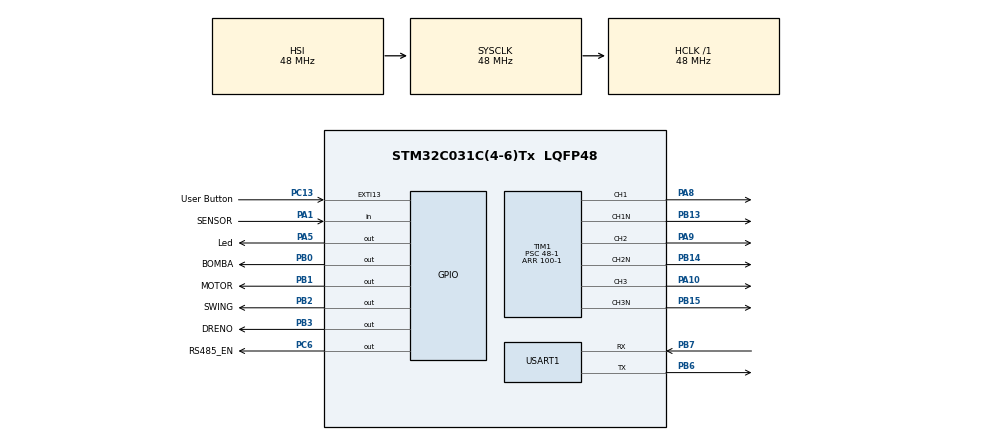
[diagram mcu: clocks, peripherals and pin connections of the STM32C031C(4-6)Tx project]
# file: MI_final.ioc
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Dma.Request0=USART1_RX
Dma.USART1_RX.0.Direction=DMA_PERIPH_TO_MEMORY
Dma.USART1_RX.0.EventEnable=DISABLE
Dma.USART1_RX.0.Instance=DMA1_Channel1
Dma.USART1_RX.0.MemDataAlignment=DMA_MDATAALIGN_BYTE
Dma.USART1_RX.0.MemInc=DMA_MINC_ENABLE
Dma.USART1_RX.0.Mode=DMA_NORMAL
Dma.USART1_RX.0.PeriphDataAlignment=DMA_PDATAALIGN_BYTE
Dma.USART1_RX.0.PeriphInc=DMA_PINC_DISABLE
Dma.USART1_RX.0.Polarity=HAL_DMAMUX_REQ_GEN_RISING
Dma.USART1_RX.0.Priority=DMA_PRIORITY_LOW
Dma.USART1_RX.0.RequestNumber=1
Dma.USART1_RX.0.SignalID=NONE
Dma.USART1_RX.0.SyncEnable=DISABLE
Dma.USART1_RX.0.SyncPolarity=HAL_DMAMUX_SYNC_NO_EVENT
Dma.USART1_RX.0.SyncRequestNumber=1
Dma.USART1_RX.0.SyncSignalID=NONE
Mcu.Family=STM32C0
Mcu.Name=STM32C031C(4-6)Tx
Mcu.Package=LQFP48
NVIC.DMA1_Channel1_IRQn=true\:0\:0\:false\:false\:true\:false\:true\:true
NVIC.EXTI4_15_IRQn=true\:0\:0\:false\:false\:true\:true\:true\:true
NVIC.TIM14_IRQn=true\:0\:0\:false\:false\:true\:true\:true\:true
NVIC.TIM3_IRQn=true\:0\:0\:false\:false\:true\:true\:true\:true
NVIC.USART1_IRQn=true\:0\:0\:false\:false\:true\:true\:true\:true
PA1.GPIO_Label=SENSOR
PA1.GPIO_PuPd=GPIO_PULLDOWN
PA1.Signal=GPIO_Input
PA10.Signal=S_TIM1_CH3
PA13.GPIO_Label=DEBUG_SWDIO
PA13.Signal=DEBUG_SWDIO
PA14-BOOT0.GPIO_Label=DEBUG_SWCLK
PA14-BOOT0.Signal=DEBUG_SWCLK
PA2.GPIO_Label=VCP_USART2_TX
PA2.Signal=USART2_TX
PA3.GPIO_Label=VCP_USART2_RX
PA3.Signal=USART2_RX
PA5.GPIO_Label=Led
PA5.GPIO_Speed=GPIO_SPEED_FREQ_VERY_HIGH
PA5.PinState=GPIO_PIN_SET
PA5.Signal=GPIO_Output
PA8.Signal=S_TIM1_CH1
PA9.Signal=S_TIM1_CH2
PB0.GPIO_Label=BOMBA
PB0.GPIO_PuPd=GPIO_PULLDOWN
PB0.Signal=GPIO_Output
PB1.GPIO_Label=MOTOR
PB1.GPIO_PuPd=GPIO_PULLDOWN
PB1.Signal=GPIO_Output
PB13.Mode=PWM Generation1 CH1 CH1N
PB13.Signal=TIM1_CH1N
PB14.Mode=PWM Generation2 CH2 CH2N
PB14.Signal=TIM1_CH2N
PB15.Mode=PWM Generation3 CH3 CH3N
PB15.Signal=TIM1_CH3N
PB2.GPIO_Label=SWING
PB2.GPIO_PuPd=GPIO_PULLDOWN
PB2.Signal=GPIO_Output
PB3.GPIO_Label=DRENO
PB3.GPIO_PuPd=GPIO_PULLDOWN
PB3.Signal=GPIO_Output
PB6.Mode=Asynchronous
PB6.Signal=USART1_TX
PB7.Mode=Asynchronous
PB7.Signal=USART1_RX
PC13.GPIO_Label=User Button
PC13.Signal=GPXTI13
PC14-OSCX_IN\ (PC14).GPIO_Label=RCC_OSCX_IN
PC14-OSCX_IN\ (PC14).Mode=LSE-External-Oscillator
PC14-OSCX_IN\ (PC14).Signal=RCC_OSCX_IN
PC15-OSCX_OUT\ (PC15).GPIO_Label=RCC_OSCX_OUT
PC15-OSCX_OUT\ (PC15).Mode=LSE-External-Oscillator
PC15-OSCX_OUT\ (PC15).Signal=RCC_OSCX_OUT
PC6.GPIO_Label=RS485_EN
PC6.Signal=GPIO_Output
PF0-OSC_IN\ (PF0).GPIO_Label=RCC_OSC_IN
PF0-OSC_IN\ (PF0).Mode=HSE-External-Oscillator
PF0-OSC_IN\ (PF0).Signal=RCC_OSC_IN
PF1-OSC_OUT\ (PF1).GPIO_Label=RCC_OSC_OUT
PF1-OSC_OUT\ (PF1).Mode=HSE-External-Oscillator
PF1-OSC_OUT\ (PF1).Signal=RCC_OSC_OUT
ProjectManager.HeapSize=0x200
ProjectManager.StackSize=0x400
ProjectManager.TargetToolchain=STM32CubeIDE
RCC.ADCFreq_Value=48000000
RCC.AHBFreq_Value=48000000
RCC.CortexFreq_Value=48000000
RCC.EXTERNAL_CLOCK_VALUE=12288000
RCC.HCLKFreq_Value=48000000
RCC.HSE_VALUE=48000000
RCC.HSISYSCLKDivider=RCC_HSI_DIV1
RCC.HSI_VALUE=48000000
RCC.SYSCLKFreq_VALUE=48000000
SH.S_TIM1_CH1.0=TIM1_CH1,PWM Generation1 CH1 CH1N
SH.S_TIM1_CH2.0=TIM1_CH2,PWM Generation2 CH2 CH2N
SH.S_TIM1_CH3.0=TIM1_CH3,PWM Generation3 CH3 CH3N
TIM1.AutoReloadPreload=TIM_AUTORELOAD_PRELOAD_ENABLE
TIM1.Channel-PWM\ Generation1\ CH1\ CH1N=TIM_CHANNEL_1
TIM1.Channel-PWM\ Generation2\ CH2\ CH2N=TIM_CHANNEL_2
TIM1.Channel-PWM\ Generation3\ CH3\ CH3N=TIM_CHANNEL_3
TIM1.DeadTime=96
TIM1.Period=100-1
TIM1.Prescaler=48-1
TIM1.Pulse-PWM\ Generation1\ CH1\ CH1N=50
TIM1.Pulse-PWM\ Generation2\ CH2\ CH2N=50
TIM1.Pulse-PWM\ Generation3\ CH3\ CH3N=50
TIM14.Period=1000-1
TIM14.Prescaler=48000-1
TIM3.Period=100-1
TIM3.Prescaler=48-1
USART1.Parity=PARITY_EVEN
USART1.VirtualMode-Asynchronous=VM_ASYNC
USART1.WordLength=WORDLENGTH_9B
VP_TIM14_VS_ClockSourceINT.Mode=Enable_Timer
VP_TIM3_VS_ClockSourceINT.Mode=Internal
board=NUCLEO-C031C6

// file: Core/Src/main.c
/* USER CODE BEGIN Header */
/**
  ******************************************************************************
  * @file           : main.c
  * @brief          : Módulo Inversor (MI) unificado
  *
  * Integra:
  * - Comunicação RS485 com a IHM (ESP32)
  * - Controle do motor / SPWM
  * - Periféricos (bomba, swing, dreno e sensor)
  *
  * Observações importantes:
  * - Este arquivo foi montado para substituir os três códigos separados do MI
  *   dentro do projeto STM32CubeMX/CubeIDE já existente.
  * - Mantém compatibilidade com a IHM unificada v2:
  *      payload[0] = botões pulsados
  *      payload[1..2] = frequência alvo em centésimos de Hz
  *      payload[3] = direção nominal (0=FWD, 1=REV)
  *      payload[4] = flags auxiliares
  *      payload[5] = estado do dreno
  *      payload[6] = P90 (reservado)
  *      payload[7] = P91 (reservado)
  *      payload[8] = E08 ativo na IHM
  ******************************************************************************
  */
/* USER CODE END Header */
#include "main.h"
#include <string.h>
#include <stdint.h>
#include <stdbool.h>
#include "mi_rs485_dma_shared.h"

/* USER CODE BEGIN PTD */
typedef struct {
    uint8_t addr, type, seq, len;
    uint8_t payload[128];
} frame_t;

typedef enum {
    PS_WAIT_SOF = 0,
    PS_HDR_ADDR,
    PS_HDR_TYPE,
    PS_HDR_SEQ,
    PS_HDR_LEN,
    PS_PAYLOAD,
    PS_CRC_L,
    PS_CRC_H
} parse_state_t;

typedef struct {
    parse_state_t st;
    bool esc_next;
    uint8_t addr, type, seq, len;
    uint8_t payload[128];
    uint8_t pay_i, crc_l, crc_h;
} frame_parser_t;

typedef struct {
    uint16_t p10_acel;
    uint16_t p11_desacel;
    uint16_t p20_freq_min;
    uint16_t p21_freq_max;
    uint16_t p35_torque;
    uint16_t p42_igbt_khz;
    uint16_t p43_i_motor;
    uint16_t p45_v_min;
    uint8_t  p44_autoreset;
    uint8_t  p85_sensor_mode;
} mi_settings_t;

typedef struct {
    uint8_t  buttons;
    uint16_t target_freq_centi_hz;
    uint8_t  direction;
    uint8_t  aux_flags;
    uint8_t  dreno_status;
    uint8_t  p90;
    uint8_t  p91;
    uint8_t  e08_active;
} mi_commands_t;

typedef struct {
    uint16_t current_freq_centi_hz;
    uint16_t motor_current_ma;
    uint16_t bus_voltage_vdc;
    uint16_t out_voltage_vrms;
    uint8_t  temp_igbt_c;
} mi_telemetry_t;

typedef struct {
    float    saved_freq_hz;
    uint8_t  saved_P10;
    uint8_t  saved_P11;
    uint8_t  saved_P20;
    uint8_t  saved_P21;
    uint8_t  saved_P35;
    uint8_t  saved_P42;
    uint8_t  saved_P12;
    uint8_t  saved_locked;
    uint32_t padding;
} SystemParams;

typedef enum {
    DRENO_IDLE = 0,
    DRENO_AGUARDANDO_LED = 1,
    DRENO_EM_CURSO = 2
} dreno_state_t;
/* USER CODE END PTD */

/* USER CODE BEGIN PD */
#define SOF                      0x7E
#define ESC                      0x7D
#define ESC_XOR                  0x20

#define ADDR_STM32               0x01
#define ADDR_MASTER              0xF0

#define TYPE_READ_STATUS         0x04
#define TYPE_WRITE_PARAM         0x05
#define TYPE_ACK_MI              0x06
#define TYPE_ACK                 0x80

#define MAX_PAYLOAD              128
#define RX_DMA_BUF_SZ            256
#define COMMS_TIMEOUT_MS         2000U

#define MI_STATUS_WATER_SHORTAGE (1u << 0)

#define BTN_BIT_START            (1u << 0)
#define BTN_BIT_STOP             (1u << 1)
#define BTN_BIT_UP               (1u << 2)
#define BTN_BIT_DOWN             (1u << 3)

#define AUX_BIT_BOMBA            (1u << 0)
#define AUX_BIT_SWING            (1u << 1)
#define AUX_BIT_EXAUSTAO         (1u << 2)
#define AUX_BIT_DRENO            (1u << 3)
#define AUX_BIT_SYSTEM_ON        (1u << 4)

#ifndef FLASH_USER_ADDR
#define FLASH_USER_ADDR          0x08007FF0U
#endif
/* USER CODE END PD */

/* USER CODE BEGIN PM */
#define CLAMP_F(v, lo, hi) (((v) < (lo)) ? (lo) : (((v) > (hi)) ? (hi) : (v)))
/* USER CODE END PM */

TIM_HandleTypeDef htim1;
TIM_HandleTypeDef htim3;
TIM_HandleTypeDef htim14;

UART_HandleTypeDef huart1;
DMA_HandleTypeDef hdma_usart1_rx;

/* USER CODE BEGIN PV */
static frame_parser_t g_parser;
static mi_settings_t  g_settings = {0};
static mi_commands_t  g_cmd      = {0};
static mi_telemetry_t g_tel      = {0};

static uint32_t last_packet_tick = 0;
static bool hardware_comms_ok = false;
static bool handshake_done = false;

/* Compartilhados com stm32c0xx_it.c para o tratamento RX DMA + IDLE */
uint8_t rx_dma_buf[2][RX_DMA_BUF_SZ];
volatile uint16_t rx_ready_len = 0;
volatile uint8_t  rx_ready_idx = 0;
volatile bool     rx_dma_ready = false;
volatile uint8_t  rx_active_idx = 0;

volatile uint32_t dbg_main_rx_count = 0;
volatile uint32_t dbg_parser_ok_count = 0;
volatile uint32_t dbg_type_write_param_count = 0;
volatile uint32_t dbg_crc_fail_count = 0;
volatile uint16_t dbg_last_n = 0;
volatile uint16_t dbg_last_crc_calc = 0;
volatile uint16_t dbg_last_crc_recv = 0;

/* ===== Motor / parâmetros ===== */
volatile uint8_t  P00 = 0;
volatile uint8_t  P01 = 0;
volatile uint32_t P10 = 15;
volatile uint32_t P11 = 5;
volatile uint8_t  P12 = 1;
volatile uint8_t  P20 = 1;
volatile uint8_t  P21 = 90;
volatile uint8_t  P35 = 0;
volatile uint8_t  P42 = 10;
volatile uint8_t  P43 = 5;
volatile uint8_t  P44 = 0;
volatile uint16_t P45 = 180;
volatile bool params_locked = false;

volatile bool  cmd_ligar_motor = false;
volatile float cmd_frequencia_alvo = 0.0f;
volatile float f_atual = 0.0f;
volatile uint32_t debug_isr_cnt = 0;

static uint32_t backup_P10 = 15;
static uint32_t backup_P11 = 5;
static uint8_t  backup_P12 = 1;
static uint8_t  backup_P20 = 1;
static uint8_t  backup_P21 = 90;
static uint8_t  backup_P35 = 0;
static uint8_t  backup_P42 = 10;

static uint8_t  P20_run = 1;
static uint8_t  P21_run = 90;
static uint32_t P10_run = 15;
static uint32_t P11_run = 5;
static bool     last_motor_state = false;
static uint8_t  last_P42 = 0;

volatile float ramp_inc_up = 0.0f;
volatile float ramp_inc_down = 0.0f;
volatile float inv_fs_2pi = 0.0f;
volatile uint32_t current_arr = 99;
volatile float amp_max_atual = 50.0f;
volatile float freq_ISR = 10000.0f;

static float theta_u = 0.0f;
static float theta_v = 2.094395f;
static float theta_w = 4.188790f;
static const float TWO_PI = 6.283185307f;

/* ===== Periféricos ===== */
volatile uint32_t P30 = 0;
volatile uint32_t P31 = 1;
volatile uint8_t  P32 = 60;
volatile uint8_t  P33 = 0;
volatile uint8_t  P51 = 0;
volatile uint8_t  P80 = 1;
volatile uint8_t  P81 = 1;
volatile uint8_t  P82 = 1;
volatile uint32_t P83 = 1;
volatile uint32_t P84 = 1;
volatile uint8_t  P85 = 1;
volatile uint8_t  P86 = 1;

static bool remote_system_on = false;
static bool remote_start_latched = false;
static bool remote_bomba_cmd = false;
static bool remote_swing_cmd = false;
static bool remote_exaustao_cmd = false;
static dreno_state_t remote_dreno_status = DRENO_IDLE;
static bool motor_reverse = false;

static uint32_t sensor_delay_counter = 0;
static uint32_t tsensor = 5;
static uint8_t  sensor_estavel = 0;
static uint8_t  sensor_ultimo_raw = 0;
static bool     motor_desligado = true;

static GPIO_PinState ligar_bomba = GPIO_PIN_SET;
static GPIO_PinState desligar_bomba = GPIO_PIN_RESET;
static GPIO_PinState ligar_swing = GPIO_PIN_SET;
static GPIO_PinState desligar_swing = GPIO_PIN_RESET;
static GPIO_PinState ligar_dreno = GPIO_PIN_SET;
static GPIO_PinState desligar_dreno = GPIO_PIN_RESET;
static GPIO_PinState ligar_motor_pin = GPIO_PIN_SET;
static GPIO_PinState desligar_motor_pin = GPIO_PIN_RESET;

/* ===== Telemetria simulada / base ===== */
volatile uint16_t sim_v_out = 220;
volatile uint16_t sim_v_bus = 311;
volatile uint16_t sim_i_out = 520;
volatile uint8_t  sim_temp  = 32;
/* USER CODE END PV */

void SystemClock_Config(void);
static void MX_GPIO_Init(void);
static void MX_DMA_Init(void);
static void MX_USART1_UART_Init(void);
static void MX_TIM1_Init(void);
static void MX_TIM3_Init(void);
static void MX_TIM14_Init(void);
/* USER CODE BEGIN PFP */
static inline float fast_sin_approx(float x) {
    while (x >= TWO_PI) x -= TWO_PI;
    while (x < 0.0f) x += TWO_PI;

    float sign = 1.0f;
    if (x > 3.1415926535f) {
        x -= 3.1415926535f;
        sign = -1.0f;
    }

    if (x > 1.5707963268f) {
        x = 3.1415926535f - x;
    }

    float y = (1.27323954f * x) - (0.405284735f * x * x);
    return sign * y;
}

static uint16_t crc16_ibm(const uint8_t *data, uint16_t len);
static void parser_reset(frame_parser_t *p);
static bool parser_feed(frame_parser_t *p, uint8_t byte, frame_t *out_frame);
static void rs485_send_reply(uint8_t type, uint8_t seq, const uint8_t *payload, uint8_t len);
static void process_frame(const frame_t *fr);
static void comm_apply_received_command(void);
static void comm_safe_stop(void);
static void telemetry_update(void);
static uint8_t telemetry_status_flags(void);
static void atualiza_P42(void);
static void load_flash_data(void);
static void write_flash_data(void);
static void calcula_rampa(void);
static void spwm(void);
static void motor_init_runtime(void);
static void motor_task_runtime(void);
static void peripherals_set_modes(void);
static uint8_t sensor_read(void);
static void peripherals_tick_1s(void);
static void peripherals_apply_remote(void);
static void set_output_pin(GPIO_TypeDef *port, uint16_t pin, GPIO_PinState state);
/* USER CODE END PFP */

/* USER CODE BEGIN 0 */
static uint16_t crc16_ibm(const uint8_t *data, uint16_t len) {
    uint16_t crc = 0xFFFF;
    for (uint16_t i = 0; i < len; i++) {
        crc ^= data[i];
        for (int b = 0; b < 8; b++) {
            crc = (crc & 1u) ? (uint16_t)((crc >> 1) ^ 0xA001u) : (uint16_t)(crc >> 1);
        }
    }
    return crc;
}

static void parser_reset(frame_parser_t *p) {
    p->st = PS_WAIT_SOF;
    p->esc_next = false;
    p->pay_i = 0;
}

static bool parser_feed(frame_parser_t *p, uint8_t byte, frame_t *out_frame) {
    if (byte == SOF) {
        parser_reset(p);
        p->st = PS_HDR_ADDR;
        return false;
    }
    if (p->st == PS_WAIT_SOF) return false;

    if (p->esc_next) {
        byte ^= ESC_XOR;
        p->esc_next = false;
    } else if (byte == ESC) {
        p->esc_next = true;
        return false;
    }

    switch (p->st) {
        case PS_HDR_ADDR: p->addr = byte; p->st = PS_HDR_TYPE; break;
        case PS_HDR_TYPE: p->type = byte; p->st = PS_HDR_SEQ; break;
        case PS_HDR_SEQ:  p->seq  = byte; p->st = PS_HDR_LEN; break;
        case PS_HDR_LEN:
            p->len = byte;
            if (p->len > MAX_PAYLOAD) {
                parser_reset(p);
                return false;
            }
            p->st = (p->len == 0u) ? PS_CRC_L : PS_PAYLOAD;
            break;
        case PS_PAYLOAD:
            p->payload[p->pay_i++] = byte;
            if (p->pay_i >= p->len) p->st = PS_CRC_L;
            break;
        case PS_CRC_L:
            p->crc_l = byte;
            p->st = PS_CRC_H;
            break;
        case PS_CRC_H: {
            p->crc_h = byte;
            uint8_t tmp[4 + MAX_PAYLOAD];
            tmp[0] = p->addr;
            tmp[1] = p->type;
            tmp[2] = p->seq;
            tmp[3] = p->len;
            if (p->len) memcpy(&tmp[4], p->payload, p->len);
            uint16_t calc = crc16_ibm(tmp, (uint16_t)(4 + p->len));
            uint16_t recv = (uint16_t)p->crc_l | ((uint16_t)p->crc_h << 8);

            dbg_last_crc_calc = calc;
            dbg_last_crc_recv = recv;

            if (calc == recv) {
                out_frame->addr = p->addr;
                out_frame->type = p->type;
                out_frame->seq = p->seq;
                out_frame->len = p->len;
                if (p->len) memcpy(out_frame->payload, p->payload, p->len);

                dbg_crc_fail_count++;

                parser_reset(p);
                return true;
            }

            dbg_crc_fail_count++;

            parser_reset(p);
        } break;
        default:
            parser_reset(p);
            break;
    }
    return false;
}

static void rs485_send_reply(uint8_t type, uint8_t seq, const uint8_t *payload, uint8_t len) {
    uint8_t raw[MAX_PAYLOAD + 10];
    uint8_t esc[(MAX_PAYLOAD + 10) * 2];
    uint16_t r_idx = 0;
    uint16_t e_idx = 0;

    raw[r_idx++] = SOF;
    raw[r_idx++] = ADDR_MASTER;
    raw[r_idx++] = type;
    raw[r_idx++] = seq;
    raw[r_idx++] = len;
    if (len && payload) {
        memcpy(&raw[r_idx], payload, len);
        r_idx += len;
    }

    uint16_t crc = crc16_ibm(&raw[1], (uint16_t)(r_idx - 1));
    raw[r_idx++] = (uint8_t)(crc & 0xFFu);
    raw[r_idx++] = (uint8_t)((crc >> 8) & 0xFFu);

    esc[e_idx++] = SOF;
    for (uint16_t i = 1; i < r_idx; i++) {
        if (raw[i] == SOF || raw[i] == ESC) {
            esc[e_idx++] = ESC;
            esc[e_idx++] = raw[i] ^ ESC_XOR;
        } else {
            esc[e_idx++] = raw[i];
        }
    }

    HAL_GPIO_WritePin(RS485_EN_GPIO_Port, RS485_EN_Pin, GPIO_PIN_SET);
    HAL_UART_Transmit(&huart1, esc, e_idx, 50);
    while (__HAL_UART_GET_FLAG(&huart1, UART_FLAG_TC) == RESET) {}
    HAL_GPIO_WritePin(RS485_EN_GPIO_Port, RS485_EN_Pin, GPIO_PIN_RESET);
}

static void set_output_pin(GPIO_TypeDef *port, uint16_t pin, GPIO_PinState state) {
    HAL_GPIO_WritePin(port, pin, state);
}

static void peripherals_set_modes(void) {
    ligar_motor_pin = GPIO_PIN_SET;
    desligar_motor_pin = GPIO_PIN_RESET;

    /* BOMBA: P82=1 -> NA, P82=2 -> NF, P82=0 -> bloqueada logicamente */
    ligar_bomba    = (P82 == 2u) ? GPIO_PIN_RESET : GPIO_PIN_SET;
    desligar_bomba = (P82 == 2u) ? GPIO_PIN_SET   : GPIO_PIN_RESET;

    /* SWING: 0=desabilitado, 1=NA, 2=NF */
    if (P81 == 0u) {
        ligar_swing    = GPIO_PIN_RESET;
        desligar_swing = GPIO_PIN_RESET;
    } else if (P81 == 2u) {
        ligar_swing    = GPIO_PIN_RESET;
        desligar_swing = GPIO_PIN_SET;
    } else {
        ligar_swing    = GPIO_PIN_SET;
        desligar_swing = GPIO_PIN_RESET;
    }

    /* P80 representa modo de dreno, não polaridade da saída. */
    ligar_dreno    = GPIO_PIN_SET;
    desligar_dreno = GPIO_PIN_RESET;
}

static uint8_t sensor_read(void) {
    if (P85 == 0u) {
        /* Sensor desabilitado: sem confirmação de água, bloqueia climatização. */
        return 0u;
    }

    GPIO_PinState raw = HAL_GPIO_ReadPin(SENSOR_GPIO_Port, SENSOR_Pin);
    if (P85 == 1u) {
        /* NA: nível alto indica água presente. */
        return (raw == GPIO_PIN_SET) ? 1u : 0u;
    }
    /* P85 == 2 -> NF: nível baixo indica água presente. */
    return (raw == GPIO_PIN_RESET) ? 1u : 0u;
}

static void peripherals_tick_1s(void) {
    uint8_t sensor_raw = sensor_read();

    if (sensor_raw != sensor_ultimo_raw) {
        sensor_ultimo_raw = sensor_raw;
        sensor_delay_counter = tsensor;
    } else {
        if (sensor_delay_counter > 0u) {
            sensor_delay_counter--;
        } else {
            sensor_estavel = sensor_raw;
        }
    }
}

static void comm_safe_stop(void) {
    remote_start_latched = false;
    cmd_ligar_motor = false;
    set_output_pin(BOMBA_GPIO_Port, BOMBA_Pin, desligar_bomba);
    set_output_pin(SWING_GPIO_Port, SWING_Pin, desligar_swing);
    set_output_pin(DRENO_GPIO_Port, DRENO_Pin, desligar_dreno);
    if (f_atual <= 0.1f) {
        set_output_pin(MOTOR_GPIO_Port, MOTOR_Pin, desligar_motor_pin);
    }
}

static void comm_apply_received_command(void) {
    uint8_t btn = g_cmd.buttons;

    if (btn & BTN_BIT_START) remote_start_latched = true;
    if (btn & BTN_BIT_STOP)  remote_start_latched = false;

    remote_system_on    = ((g_cmd.aux_flags & AUX_BIT_SYSTEM_ON) != 0u);
    remote_bomba_cmd    = ((g_cmd.aux_flags & AUX_BIT_BOMBA) != 0u);
    remote_swing_cmd    = ((g_cmd.aux_flags & AUX_BIT_SWING) != 0u);
    remote_exaustao_cmd = ((g_cmd.aux_flags & AUX_BIT_EXAUSTAO) != 0u);
    remote_dreno_status = (g_cmd.dreno_status == 0u) ? DRENO_IDLE :
                          (g_cmd.dreno_status == 1u) ? DRENO_AGUARDANDO_LED : DRENO_EM_CURSO;

    if (!remote_system_on) {
        remote_start_latched = false;
    }

    P51 = (g_cmd.direction != 0u) ? 1u : 0u;
    cmd_frequencia_alvo = ((float)g_cmd.target_freq_centi_hz) / 100.0f;
}

static void peripherals_apply_remote(void) {
    bool dreno_ativo = (remote_dreno_status != DRENO_IDLE) && (P80 != 0u);
    bool sensor_ok = (P85 != 0u) && (sensor_estavel == 1u);
    bool permite_motor = hardware_comms_ok && handshake_done && !g_cmd.e08_active && remote_system_on && remote_start_latched && !dreno_ativo;
    bool motor_ativo = permite_motor || (f_atual > 0.1f);
    bool bomba_permitida = remote_system_on && remote_bomba_cmd && !remote_exaustao_cmd && !dreno_ativo && (P82 != 0u) && sensor_ok;
    bool swing_permitido = motor_ativo && remote_swing_cmd && !remote_exaustao_cmd && !dreno_ativo && (P81 != 0u);

    if (!hardware_comms_ok || !handshake_done || g_cmd.e08_active) {
        dreno_ativo = false;
        bomba_permitida = false;
        swing_permitido = false;
        permite_motor = false;
        motor_ativo = false;
    }

    if (dreno_ativo) {
        set_output_pin(DRENO_GPIO_Port, DRENO_Pin, ligar_dreno);
        set_output_pin(BOMBA_GPIO_Port, BOMBA_Pin, desligar_bomba);
        set_output_pin(SWING_GPIO_Port, SWING_Pin, desligar_swing);
        cmd_ligar_motor = false;
    } else {
        set_output_pin(DRENO_GPIO_Port, DRENO_Pin, desligar_dreno);
        set_output_pin(BOMBA_GPIO_Port, BOMBA_Pin, bomba_permitida ? ligar_bomba : desligar_bomba);
        set_output_pin(SWING_GPIO_Port, SWING_Pin, swing_permitido ? ligar_swing : desligar_swing);
        cmd_ligar_motor = permite_motor;
    }

    motor_reverse = remote_exaustao_cmd ? !((bool)P51) : ((bool)P51);

    if (cmd_ligar_motor || f_atual > 0.1f) {
        set_output_pin(MOTOR_GPIO_Port, MOTOR_Pin, ligar_motor_pin);
        motor_desligado = false;
    } else {
        set_output_pin(MOTOR_GPIO_Port, MOTOR_Pin, desligar_motor_pin);
        motor_desligado = true;
    }
}

static void atualiza_P42(void) {
    if (P42 == 5u) current_arr = 199u;
    else if (P42 == 15u) current_arr = 66u;
    else {
        P42 = 10u;
        current_arr = 99u;
    }

    amp_max_atual = ((float)(current_arr + 1u)) / 2.0f;
    freq_ISR = 1000000.0f / ((float)(current_arr + 1u));

    __HAL_TIM_SET_AUTORELOAD(&htim1, current_arr);
    __HAL_TIM_SET_AUTORELOAD(&htim3, current_arr);
}

static void load_flash_data(void) {
    SystemParams ram_params;
    uint64_t *pFlash = (uint64_t*)FLASH_USER_ADDR;
    uint64_t dw1 = pFlash[0];
    uint64_t dw2 = pFlash[1];

    uint8_t *pDst = (uint8_t*)&ram_params;
    *(uint64_t*)(pDst) = dw1;
    *(uint64_t*)(pDst + 8) = dw2;

    if (ram_params.saved_P12 == 0xFFu) {
        return;
    }

    if (!isnan(ram_params.saved_freq_hz)) cmd_frequencia_alvo = ram_params.saved_freq_hz;
    P10 = (uint32_t)ram_params.saved_P10;
    P11 = (uint32_t)ram_params.saved_P11;
    P20 = ram_params.saved_P20;
    P21 = ram_params.saved_P21;
    P35 = ram_params.saved_P35;
    P42 = ram_params.saved_P42;
    P12 = ram_params.saved_P12;
    params_locked = (ram_params.saved_locked == 1u);
}

static void write_flash_data(void) {
    __disable_irq();
    HAL_FLASH_Unlock();

    FLASH_EraseInitTypeDef EraseInitStruct;
    uint32_t PageError = 0;
    uint32_t page_number = (FLASH_USER_ADDR - FLASH_BASE) / FLASH_PAGE_SIZE;

    EraseInitStruct.TypeErase = FLASH_TYPEERASE_PAGES;
    EraseInitStruct.Page = page_number;
    EraseInitStruct.NbPages = 1;

    if (HAL_FLASHEx_Erase(&EraseInitStruct, &PageError) == HAL_OK) {
        SystemParams data;
        data.saved_freq_hz = cmd_frequencia_alvo;
        data.saved_P10 = (uint8_t)P10;
        data.saved_P11 = (uint8_t)P11;
        data.saved_P20 = P20;
        data.saved_P21 = P21;
        data.saved_P35 = P35;
        data.saved_P42 = P42;
        data.saved_P12 = P12;
        data.saved_locked = params_locked ? 1u : 0u;
        data.padding = 0u;

        uint64_t dw1 = *(uint64_t*)((uint8_t*)&data);
        uint64_t dw2 = *(uint64_t*)((uint8_t*)&data + 8);

        (void)HAL_FLASH_Program(FLASH_TYPEPROGRAM_DOUBLEWORD, FLASH_USER_ADDR, dw1);
        (void)HAL_FLASH_Program(FLASH_TYPEPROGRAM_DOUBLEWORD, FLASH_USER_ADDR + 8u, dw2);
    }

    HAL_FLASH_Lock();
    __enable_irq();
}

static void calcula_rampa(void) {
    float t_acc = (float)P10_run;
    float t_dec = (float)P11_run;
    float f_max_ref = cmd_frequencia_alvo;

    if (t_acc < 0.1f) t_acc = 0.1f;
    if (t_dec < 0.1f) t_dec = 0.1f;

    if (last_P42 == 15u) {
        ramp_inc_up   = f_max_ref / ((t_acc * freq_ISR) / 6.7f);
        ramp_inc_down = f_max_ref / ((t_dec * freq_ISR) / 6.7f);
    } else if (last_P42 == 10u) {
        ramp_inc_up   = f_max_ref / ((t_acc * freq_ISR) / 3.9f);
        ramp_inc_down = f_max_ref / ((t_dec * freq_ISR) / 3.9f);
    } else {
        ramp_inc_up   = f_max_ref / ((t_acc * freq_ISR) / 2.2f);
        ramp_inc_down = f_max_ref / ((t_dec * freq_ISR) / 2.2f);
    }

    if (cmd_ligar_motor) {
        float diferenca = fabsf(f_atual - cmd_frequencia_alvo);
        if (diferenca < 0.1f) f_atual = cmd_frequencia_alvo;
    }

    if (!cmd_ligar_motor && f_atual > (cmd_frequencia_alvo - 0.1f)) {
        f_atual = cmd_frequencia_alvo - 0.15f;
    }
}

static void spwm(void) {
    debug_isr_cnt++;

    float alvo = 0.0f;
    float step = 0.0f;
    float amp = 0.0f;

    if (cmd_ligar_motor) {
        alvo = cmd_frequencia_alvo;
        if (alvo > (float)P21_run) alvo = (float)P21_run;
        if (alvo < (float)P20_run) alvo = (float)P20_run;

        if (f_atual < alvo) {
            step = ramp_inc_up;
            f_atual += step;
            if (f_atual > alvo) f_atual = alvo;
        } else if (f_atual > alvo) {
            step = ramp_inc_down;
            f_atual -= step;
            if (f_atual < alvo) f_atual = alvo;
        }
    } else {
        step = ramp_inc_down;
        if (f_atual > 0.0f) {
            f_atual -= step;
            if (f_atual < 0.0f) f_atual = 0.0f;
        }
    }

    P01 = (uint8_t)f_atual;

    if (!cmd_ligar_motor && f_atual <= 0.1f) {
        __HAL_TIM_SET_COMPARE(&htim1, TIM_CHANNEL_1, 0);
        __HAL_TIM_SET_COMPARE(&htim1, TIM_CHANNEL_2, 0);
        __HAL_TIM_SET_COMPARE(&htim1, TIM_CHANNEL_3, 0);
        HAL_TIM_Base_Stop_IT(&htim3);
        motor_desligado = true;
        return;
    }

    float inc = 0.0f;
    if (last_P42 == 15u) inc = f_atual * inv_fs_2pi * 6.45f;
    else if (last_P42 == 10u) inc = f_atual * inv_fs_2pi * 4.31f;
    else inc = f_atual * inv_fs_2pi * 2.16f;

    theta_u += inc;
    if (theta_u >= TWO_PI) theta_u -= TWO_PI;
    theta_v = theta_u + 2.094395f;
    if (theta_v >= TWO_PI) theta_v -= TWO_PI;
    theta_w = theta_u + 4.188790f;
    if (theta_w >= TWO_PI) theta_w -= TWO_PI;

    float prop_vf = f_atual * 0.01666f;
    if (prop_vf > 1.0f) prop_vf = 1.0f;

    if (f_atual < 20.0f) amp = amp_max_atual * (1.0f + (P35 / 10.0f));
    else amp = amp_max_atual;

    float amp_atual = prop_vf * amp;
    if (amp_atual > amp_max_atual) amp_atual = amp_max_atual;

    float offset = amp_max_atual - amp_atual;

    uint16_t p1 = (uint16_t)((amp_atual * (fast_sin_approx(theta_u) + 1.0f)) + offset);
    uint16_t p2 = (uint16_t)((amp_atual * (fast_sin_approx(theta_v) + 1.0f)) + offset);
    uint16_t p3 = (uint16_t)((amp_atual * (fast_sin_approx(theta_w) + 1.0f)) + offset);

    if (!motor_reverse) {
        __HAL_TIM_SET_COMPARE(&htim1, TIM_CHANNEL_1, p1);
        __HAL_TIM_SET_COMPARE(&htim1, TIM_CHANNEL_2, p2);
        __HAL_TIM_SET_COMPARE(&htim1, TIM_CHANNEL_3, p3);
    } else {
        __HAL_TIM_SET_COMPARE(&htim1, TIM_CHANNEL_1, p1);
        __HAL_TIM_SET_COMPARE(&htim1, TIM_CHANNEL_2, p3);
        __HAL_TIM_SET_COMPARE(&htim1, TIM_CHANNEL_3, p2);
    }
}

static void motor_init_runtime(void) {
    P10 = 15u; P11 = 5u; P12 = 1u;
    P20 = 1u;  P21 = 90u;
    P35 = 0u;  P42 = 10u;
    P43 = 5u;  P44 = 0u; P45 = 180u;
    cmd_frequencia_alvo = 5.0f;
    params_locked = false;

    load_flash_data();

    backup_P10 = P10; backup_P11 = P11; backup_P12 = P12;
    backup_P20 = P20; backup_P21 = P21;
    backup_P35 = P35; backup_P42 = P42;

    P10_run = P10;
    P11_run = P11;
    P20_run = P20;
    P21_run = P21;

    if (P42 <= 7u) P42 = 5u;
    else if (P42 <= 12u) P42 = 10u;
    else P42 = 15u;

    last_P42 = 0u;
    f_atual = 0.0f;

    peripherals_set_modes();
    sensor_ultimo_raw = sensor_read();
    sensor_estavel = sensor_ultimo_raw;
    sensor_delay_counter = 0;
    motor_task_runtime();
}

static void motor_task_runtime(void) {
    if (P00 != 0u) {
        if (P00 == 7u) {
            params_locked = !params_locked;
            write_flash_data();
        } else if (P00 == 101u) {
            P10 = 15u; P11 = 5u; P12 = 1u;
            P20 = 1u;  P21 = 90u;
            P30 = 10u; P31 = 5u; P32 = 30u; P33 = 0u;
            P35 = 0u;  P42 = 10u;
            P43 = 5u;  P44 = 0u; P45 = 180u;
            P51 = 0u;
            P80 = 0u;  P81 = 1u; P82 = 1u; P83 = 10u; P84 = 5u; P85 = 1u; P86 = 1u;
            cmd_frequencia_alvo = 5.0f;
            params_locked = false;
            backup_P10 = P10; backup_P11 = P11; backup_P12 = P12;
            backup_P20 = P20; backup_P21 = P21;
            backup_P35 = P35; backup_P42 = P42;
            peripherals_set_modes();
            sensor_ultimo_raw = sensor_read();
            sensor_estavel = sensor_ultimo_raw;
            sensor_delay_counter = 0;
            write_flash_data();
        }
        P00 = 0u;
    }

    if (params_locked) {
        if (P10 != backup_P10) P10 = backup_P10;
        if (P11 != backup_P11) P11 = backup_P11;
        if (P12 != backup_P12) P12 = backup_P12;
        if (P20 != backup_P20) P20 = backup_P20;
        if (P21 != backup_P21) P21 = backup_P21;
        if (P35 != backup_P35) P35 = backup_P35;
        if (P42 != backup_P42) P42 = backup_P42;
    } else {
        if (P10 < 5u) P10 = 5u; if (P10 > 60u) P10 = 60u;
        if (P11 < 5u) P11 = 5u; if (P11 > 60u) P11 = 60u;
        if (P20 < 1u) P20 = 1u; if (P20 > 24u) P20 = 24u;
        if (P21 < 23u) P21 = 23u; if (P21 > 90u) P21 = 90u;
        if (P35 > 9u) P35 = 9u;
        if (cmd_frequencia_alvo < (float)P20) cmd_frequencia_alvo = (float)P20;
        if (cmd_frequencia_alvo > (float)P21) cmd_frequencia_alvo = (float)P21;

        backup_P10 = P10; backup_P11 = P11; backup_P12 = P12;
        backup_P20 = P20; backup_P21 = P21;
        backup_P35 = P35; backup_P42 = P42;
    }

    if (P42 != last_P42) {
        if (P42 <= 7u) P42 = 5u;
        else if (P42 <= 12u) P42 = 10u;
        else P42 = 15u;
        atualiza_P42();
        last_P42 = P42;
    }

    if (!last_motor_state && cmd_ligar_motor) {
        P20_run = P20;
        P21_run = P21;
        P10_run = P10;
        P11_run = P11;
    }

    if (!cmd_ligar_motor) {
        SystemParams flash_data;
        uint64_t *pFlash = (uint64_t*)FLASH_USER_ADDR;
        uint64_t dw1 = pFlash[0];
        uint64_t dw2 = pFlash[1];
        uint8_t *pDst = (uint8_t*)&flash_data;
        *(uint64_t*)(pDst) = dw1;
        *(uint64_t*)(pDst + 8) = dw2;

        bool changed = false;
        if (fabsf(flash_data.saved_freq_hz - cmd_frequencia_alvo) > 0.1f) changed = true;
        if (flash_data.saved_P10 != (uint8_t)P10) changed = true;
        if (flash_data.saved_P11 != (uint8_t)P11) changed = true;
        if (flash_data.saved_P20 != P20) changed = true;
        if (flash_data.saved_P21 != P21) changed = true;
        if (flash_data.saved_P35 != P35) changed = true;
        if (flash_data.saved_P42 != P42) changed = true;
        if (flash_data.saved_P12 != P12) changed = true;
        if (flash_data.saved_locked != (params_locked ? 1u : 0u)) changed = true;

        if (changed && P12 == 1u) {
            write_flash_data();
        }
    }

    last_motor_state = cmd_ligar_motor;
    inv_fs_2pi = TWO_PI / freq_ISR;
    calcula_rampa();

    if (cmd_ligar_motor) {
        if (cmd_frequencia_alvo < (float)P20) cmd_frequencia_alvo = (float)P20;
        if (cmd_frequencia_alvo > (float)P21) cmd_frequencia_alvo = (float)P21;
        if ((TIM3->DIER & TIM_DIER_UIE) == 0u) {
            __HAL_TIM_SET_COUNTER(&htim3, 0u);
            HAL_TIM_Base_Start_IT(&htim3);
        }
    } else {
        if (f_atual <= 0.1f) {
            HAL_TIM_Base_Stop_IT(&htim3);
            __HAL_TIM_SET_COMPARE(&htim1, TIM_CHANNEL_1, 0u);
            __HAL_TIM_SET_COMPARE(&htim1, TIM_CHANNEL_2, 0u);
            __HAL_TIM_SET_COMPARE(&htim1, TIM_CHANNEL_3, 0u);
        }
    }
}

static uint8_t telemetry_status_flags(void) {
    uint8_t flags = 0u;
    if (P85 != 0u && sensor_estavel == 0u) {
        flags |= MI_STATUS_WATER_SHORTAGE;
    }
    return flags;
}

static void telemetry_update(void) {
    float f_hz = f_atual;
    if (f_hz < 0.0f) f_hz = 0.0f;

    g_tel.current_freq_centi_hz = (uint16_t)(f_hz * 100.0f + 0.5f);

    if (cmd_ligar_motor || f_hz > 0.1f) {
        uint16_t dynamic_current = (uint16_t)(sim_i_out + (uint16_t)(f_hz * 15.0f));
        uint16_t dynamic_vout = (uint16_t)((f_hz * (float)sim_v_out) / 60.0f);
        g_tel.motor_current_ma = dynamic_current;
        g_tel.out_voltage_vrms = dynamic_vout;
    } else {
        g_tel.motor_current_ma = 0u;
        g_tel.out_voltage_vrms = 0u;
    }

    g_tel.bus_voltage_vdc = sim_v_bus;
    g_tel.temp_igbt_c = sim_temp;
}

static void process_frame(const frame_t *fr) {
    if (fr->addr != ADDR_STM32) return;

    last_packet_tick = HAL_GetTick();
    hardware_comms_ok = true;

    switch (fr->type) {
        case TYPE_WRITE_PARAM:
            if (fr->len == 3u) {
                uint8_t p_id = fr->payload[0];
                uint16_t p_val = ((uint16_t)fr->payload[1] << 8) | fr->payload[2];

                switch (p_id) {
                    case 0:  P00 = (uint8_t)p_val; break;
                    case 10: g_settings.p10_acel = p_val; P10 = p_val; break;
                    case 11: g_settings.p11_desacel = p_val; P11 = p_val; break;
                    case 20: g_settings.p20_freq_min = p_val; P20 = (uint8_t)p_val; break;
                    case 21: g_settings.p21_freq_max = p_val; P21 = (uint8_t)p_val; break;
                    case 35: g_settings.p35_torque = p_val; P35 = (uint8_t)p_val; break;
                    case 42: g_settings.p42_igbt_khz = p_val; P42 = (uint8_t)p_val; break;
                    case 43: g_settings.p43_i_motor = p_val; P43 = (uint8_t)p_val; break;
                    case 44: g_settings.p44_autoreset = (uint8_t)p_val; P44 = (uint8_t)p_val; break;
                    case 45: g_settings.p45_v_min = p_val; P45 = p_val; break;
                    case 51: P51 = (uint8_t)p_val; break;
                    case 30: P30 = p_val; break;
                    case 31: P31 = p_val; break;
                    case 32: P32 = (uint8_t)p_val; break;
                    case 33: P33 = (uint8_t)p_val; break;
                    case 80: P80 = (uint8_t)p_val; break;
                    case 81: P81 = (uint8_t)p_val; break;
                    case 82: P82 = (uint8_t)p_val; break;
                    case 83: P83 = p_val; break;
                    case 84: P84 = p_val; break;
                    case 85:
                        g_settings.p85_sensor_mode = (uint8_t)p_val;
                        P85 = (uint8_t)p_val;
                        sensor_ultimo_raw = sensor_read();
                        sensor_estavel = sensor_ultimo_raw;
                        sensor_delay_counter = 0;
                        handshake_done = true;
                        break;
                    case 86: P86 = (uint8_t)p_val; break;
                    default: break;
                }

                peripherals_set_modes();
                rs485_send_reply(TYPE_ACK_MI, fr->seq, NULL, 0u);
            }
            break;

        case TYPE_READ_STATUS:
            if (fr->len == 9u) {
                g_cmd.buttons = fr->payload[0];
                g_cmd.target_freq_centi_hz = ((uint16_t)fr->payload[1] << 8) | fr->payload[2];
                g_cmd.direction = fr->payload[3];
                g_cmd.aux_flags = fr->payload[4];
                g_cmd.dreno_status = fr->payload[5];
                g_cmd.p90 = fr->payload[6];
                g_cmd.p91 = fr->payload[7];
                g_cmd.e08_active = fr->payload[8];
                comm_apply_received_command();
            }

            telemetry_update();
            {
                uint8_t resp[10];
                resp[0] = (uint8_t)(g_tel.current_freq_centi_hz >> 8);
                resp[1] = (uint8_t)(g_tel.current_freq_centi_hz & 0xFFu);
                resp[2] = (uint8_t)(g_tel.motor_current_ma >> 8);
                resp[3] = (uint8_t)(g_tel.motor_current_ma & 0xFFu);
                resp[4] = (uint8_t)(g_tel.bus_voltage_vdc >> 8);
                resp[5] = (uint8_t)(g_tel.bus_voltage_vdc & 0xFFu);
                resp[6] = (uint8_t)(g_tel.out_voltage_vrms >> 8);
                resp[7] = (uint8_t)(g_tel.out_voltage_vrms & 0xFFu);
                resp[8] = g_tel.temp_igbt_c;
                resp[9] = telemetry_status_flags();
                rs485_send_reply(TYPE_ACK, fr->seq, resp, 10u);
            }
            break;

        default:
            break;
    }
}
/* USER CODE END 0 */

int main(void)
{

  /* MCU Configuration--------------------------------------------------------*/

  /* Reset of all peripherals, Initializes the Flash interface and the Systick. */
  HAL_Init();

  /* Configure the system clock */
  SystemClock_Config();

  /* Initialize all configured peripherals */
  MX_GPIO_Init();
  MX_DMA_Init();
  MX_USART1_UART_Init();
  MX_TIM1_Init();
  MX_TIM3_Init();
  MX_TIM14_Init();
  /* USER CODE BEGIN 2 */
  parser_reset(&g_parser);
  peripherals_set_modes();
  motor_init_runtime();

  HAL_TIM_PWM_Start(&htim1, TIM_CHANNEL_1);
  HAL_TIMEx_PWMN_Start(&htim1, TIM_CHANNEL_1);
  HAL_TIM_PWM_Start(&htim1, TIM_CHANNEL_2);
  HAL_TIMEx_PWMN_Start(&htim1, TIM_CHANNEL_2);
  HAL_TIM_PWM_Start(&htim1, TIM_CHANNEL_3);
  HAL_TIMEx_PWMN_Start(&htim1, TIM_CHANNEL_3);
  HAL_TIM_Base_Start_IT(&htim14);

  __HAL_UART_ENABLE_IT(&huart1, UART_IT_IDLE);
  HAL_UART_Receive_DMA(&huart1, rx_dma_buf[rx_active_idx], RX_DMA_BUF_SZ);
  last_packet_tick = HAL_GetTick();
  /* USER CODE END 2 */

  /* Infinite loop */
  /* USER CODE BEGIN WHILE */
  while (1)
  {
    if ((HAL_GetTick() - last_packet_tick) > 500u) {
        parser_reset(&g_parser);
        if (__HAL_UART_GET_FLAG(&huart1, UART_FLAG_ORE)) {
            __HAL_UART_CLEAR_FLAG(&huart1, UART_FLAG_ORE);
            HAL_UART_Receive_DMA(&huart1, rx_dma_buf[rx_active_idx], RX_DMA_BUF_SZ);
        }
    }

    uint16_t n = 0;
    uint8_t idx = 0;
    __disable_irq();
    if (rx_dma_ready) {
        rx_dma_ready = false;
        n = rx_ready_len;
        idx = rx_ready_idx;
        if (n > 0u) {
            dbg_main_rx_count++;
            dbg_last_n = n;
        }
    }
    __enable_irq();

    if (n > 0u) {
        frame_t fr;
        for (uint16_t i = 0; i < n; i++) {
            if (parser_feed(&g_parser, rx_dma_buf[idx][i], &fr)) {
                dbg_parser_ok_count++;
                if (fr.type == TYPE_WRITE_PARAM) {
                    dbg_type_write_param_count++;
                }
                process_frame(&fr);
            }
        }
    }

    if ((HAL_GetTick() - last_packet_tick) > COMMS_TIMEOUT_MS) {
        hardware_comms_ok = false;
        comm_safe_stop();
    }

    peripherals_apply_remote();
    motor_task_runtime();
    telemetry_update();

    HAL_GPIO_WritePin(Led_GPIO_Port, Led_Pin, hardware_comms_ok ? GPIO_PIN_SET : GPIO_PIN_RESET);

    HAL_Delay(5);
    /* USER CODE END WHILE */

  }
}

void SystemClock_Config(void)
{
  RCC_OscInitTypeDef RCC_OscInitStruct = {0};
  RCC_ClkInitTypeDef RCC_ClkInitStruct = {0};

  __HAL_FLASH_SET_LATENCY(FLASH_LATENCY_1);

  /** Initializes the RCC Oscillators according to the specified parameters
  * in the RCC_OscInitTypeDef structure.
  */
  RCC_OscInitStruct.OscillatorType = RCC_OSCILLATORTYPE_HSI;
  RCC_OscInitStruct.HSIState = RCC_HSI_ON;
  RCC_OscInitStruct.HSIDiv = RCC_HSI_DIV1;
  RCC_OscInitStruct.HSICalibrationValue = RCC_HSICALIBRATION_DEFAULT;
  if (HAL_RCC_OscConfig(&RCC_OscInitStruct) != HAL_OK)
  {
    Error_Handler();
  }

  /** Initializes the CPU, AHB and APB buses clocks
  */
  RCC_ClkInitStruct.ClockType = RCC_CLOCKTYPE_HCLK|RCC_CLOCKTYPE_SYSCLK
                              |RCC_CLOCKTYPE_PCLK1;
  RCC_ClkInitStruct.SYSCLKSource = RCC_SYSCLKSOURCE_HSI;
  RCC_ClkInitStruct.SYSCLKDivider = RCC_SYSCLK_DIV1;
  RCC_ClkInitStruct.AHBCLKDivider = RCC_HCLK_DIV1;
  RCC_ClkInitStruct.APB1CLKDivider = RCC_APB1_DIV1;

  if (HAL_RCC_ClockConfig(&RCC_ClkInitStruct, FLASH_LATENCY_1) != HAL_OK)
  {
    Error_Handler();
  }
}

static void MX_TIM1_Init(void)
{

  TIM_MasterConfigTypeDef sMasterConfig = {0};
  TIM_OC_InitTypeDef sConfigOC = {0};
  TIM_BreakDeadTimeConfigTypeDef sBreakDeadTimeConfig = {0};

  htim1.Instance = TIM1;
  htim1.Init.Prescaler = 48-1;
  htim1.Init.CounterMode = TIM_COUNTERMODE_UP;
  htim1.Init.Period = 100-1;
  htim1.Init.ClockDivision = TIM_CLOCKDIVISION_DIV1;
  htim1.Init.RepetitionCounter = 0;
  htim1.Init.AutoReloadPreload = TIM_AUTORELOAD_PRELOAD_ENABLE;
  if (HAL_TIM_PWM_Init(&htim1) != HAL_OK)
  {
    Error_Handler();
  }
  sMasterConfig.MasterOutputTrigger = TIM_TRGO_RESET;
  sMasterConfig.MasterOutputTrigger2 = TIM_TRGO2_RESET;
  sMasterConfig.MasterSlaveMode = TIM_MASTERSLAVEMODE_DISABLE;
  if (HAL_TIMEx_MasterConfigSynchronization(&htim1, &sMasterConfig) != HAL_OK)
  {
    Error_Handler();
  }
  sConfigOC.OCMode = TIM_OCMODE_PWM1;
  sConfigOC.Pulse = 50;
  sConfigOC.OCPolarity = TIM_OCPOLARITY_HIGH;
  sConfigOC.OCNPolarity = TIM_OCNPOLARITY_HIGH;
  sConfigOC.OCFastMode = TIM_OCFAST_DISABLE;
  sConfigOC.OCIdleState = TIM_OCIDLESTATE_RESET;
  sConfigOC.OCNIdleState = TIM_OCNIDLESTATE_RESET;
  if (HAL_TIM_PWM_ConfigChannel(&htim1, &sConfigOC, TIM_CHANNEL_1) != HAL_OK)
  {
    Error_Handler();
  }
  if (HAL_TIM_PWM_ConfigChannel(&htim1, &sConfigOC, TIM_CHANNEL_2) != HAL_OK)
  {
    Error_Handler();
  }
  if (HAL_TIM_PWM_ConfigChannel(&htim1, &sConfigOC, TIM_CHANNEL_3) != HAL_OK)
  {
    Error_Handler();
  }
  sBreakDeadTimeConfig.OffStateRunMode = TIM_OSSR_DISABLE;
  sBreakDeadTimeConfig.OffStateIDLEMode = TIM_OSSI_DISABLE;
  sBreakDeadTimeConfig.LockLevel = TIM_LOCKLEVEL_OFF;
  sBreakDeadTimeConfig.DeadTime = 96;
  sBreakDeadTimeConfig.BreakState = TIM_BREAK_DISABLE;
  sBreakDeadTimeConfig.BreakPolarity = TIM_BREAKPOLARITY_HIGH;
  sBreakDeadTimeConfig.BreakFilter = 0;
  sBreakDeadTimeConfig.BreakAFMode = TIM_BREAK_AFMODE_INPUT;
  sBreakDeadTimeConfig.Break2State = TIM_BREAK2_DISABLE;
  sBreakDeadTimeConfig.Break2Polarity = TIM_BREAK2POLARITY_HIGH;
  sBreakDeadTimeConfig.Break2Filter = 0;
  sBreakDeadTimeConfig.Break2AFMode = TIM_BREAK_AFMODE_INPUT;
  sBreakDeadTimeConfig.AutomaticOutput = TIM_AUTOMATICOUTPUT_DISABLE;
  if (HAL_TIMEx_ConfigBreakDeadTime(&htim1, &sBreakDeadTimeConfig) != HAL_OK)
  {
    Error_Handler();
  }
  HAL_TIM_MspPostInit(&htim1);

}

static void MX_TIM3_Init(void)
{

  TIM_ClockConfigTypeDef sClockSourceConfig = {0};
  TIM_MasterConfigTypeDef sMasterConfig = {0};

  htim3.Instance = TIM3;
  htim3.Init.Prescaler = 48-1;
  htim3.Init.CounterMode = TIM_COUNTERMODE_UP;
  htim3.Init.Period = 100-1;
  htim3.Init.ClockDivision = TIM_CLOCKDIVISION_DIV1;
  htim3.Init.AutoReloadPreload = TIM_AUTORELOAD_PRELOAD_DISABLE;
  if (HAL_TIM_Base_Init(&htim3) != HAL_OK)
  {
    Error_Handler();
  }
  sClockSourceConfig.ClockSource = TIM_CLOCKSOURCE_INTERNAL;
  if (HAL_TIM_ConfigClockSource(&htim3, &sClockSourceConfig) != HAL_OK)
  {
    Error_Handler();
  }
  sMasterConfig.MasterOutputTrigger = TIM_TRGO_RESET;
  sMasterConfig.MasterSlaveMode = TIM_MASTERSLAVEMODE_DISABLE;
  if (HAL_TIMEx_MasterConfigSynchronization(&htim3, &sMasterConfig) != HAL_OK)
  {
    Error_Handler();
  }

}

static void MX_TIM14_Init(void)
{

  htim14.Instance = TIM14;
  htim14.Init.Prescaler = 48000-1;
  htim14.Init.CounterMode = TIM_COUNTERMODE_UP;
  htim14.Init.Period = 1000-1;
  htim14.Init.ClockDivision = TIM_CLOCKDIVISION_DIV1;
  htim14.Init.AutoReloadPreload = TIM_AUTORELOAD_PRELOAD_DISABLE;
  if (HAL_TIM_Base_Init(&htim14) != HAL_OK)
  {
    Error_Handler();
  }

}

static void MX_USART1_UART_Init(void)
{

  huart1.Instance = USART1;
  huart1.Init.BaudRate = 115200;
  huart1.Init.WordLength = UART_WORDLENGTH_9B;
  huart1.Init.StopBits = UART_STOPBITS_1;
  huart1.Init.Parity = UART_PARITY_EVEN;
  huart1.Init.Mode = UART_MODE_TX_RX;
  huart1.Init.HwFlowCtl = UART_HWCONTROL_NONE;
  huart1.Init.OverSampling = UART_OVERSAMPLING_16;
  huart1.Init.OneBitSampling = UART_ONE_BIT_SAMPLE_DISABLE;
  huart1.Init.ClockPrescaler = UART_PRESCALER_DIV1;
  huart1.AdvancedInit.AdvFeatureInit = UART_ADVFEATURE_NO_INIT;
  if (HAL_UART_Init(&huart1) != HAL_OK)
  {
    Error_Handler();
  }
  if (HAL_UARTEx_SetTxFifoThreshold(&huart1, UART_TXFIFO_THRESHOLD_1_8) != HAL_OK)
  {
    Error_Handler();
  }
  if (HAL_UARTEx_SetRxFifoThreshold(&huart1, UART_RXFIFO_THRESHOLD_1_8) != HAL_OK)
  {
    Error_Handler();
  }
  if (HAL_UARTEx_DisableFifoMode(&huart1) != HAL_OK)
  {
    Error_Handler();
  }

}

static void MX_DMA_Init(void)
{

  /* DMA controller clock enable */
  __HAL_RCC_DMA1_CLK_ENABLE();

  /* DMA interrupt init */
  /* DMA1_Channel1_IRQn interrupt configuration */
  HAL_NVIC_SetPriority(DMA1_Channel1_IRQn, 0, 0);
  HAL_NVIC_EnableIRQ(DMA1_Channel1_IRQn);

}

static void MX_GPIO_Init(void)
{
  GPIO_InitTypeDef GPIO_InitStruct = {0};

  /* GPIO Ports Clock Enable */
  __HAL_RCC_GPIOC_CLK_ENABLE();
  __HAL_RCC_GPIOF_CLK_ENABLE();
  __HAL_RCC_GPIOA_CLK_ENABLE();
  __HAL_RCC_GPIOB_CLK_ENABLE();

  /*Configure GPIO pin Output Level */
  HAL_GPIO_WritePin(Led_GPIO_Port, Led_Pin, GPIO_PIN_SET);

  /*Configure GPIO pin Output Level */
  HAL_GPIO_WritePin(GPIOB, BOMBA_Pin|MOTOR_Pin|SWING_Pin|DRENO_Pin, GPIO_PIN_RESET);

  /*Configure GPIO pin Output Level */
  HAL_GPIO_WritePin(RS485_EN_GPIO_Port, RS485_EN_Pin, GPIO_PIN_RESET);

  /*Configure GPIO pin : User_Button_Pin */
  GPIO_InitStruct.Pin = User_Button_Pin;
  GPIO_InitStruct.Mode = GPIO_MODE_IT_RISING;
  GPIO_InitStruct.Pull = GPIO_NOPULL;
  HAL_GPIO_Init(User_Button_GPIO_Port, &GPIO_InitStruct);

  /*Configure GPIO pin : SENSOR_Pin */
  GPIO_InitStruct.Pin = SENSOR_Pin;
  GPIO_InitStruct.Mode = GPIO_MODE_INPUT;
  GPIO_InitStruct.Pull = GPIO_PULLDOWN;
  HAL_GPIO_Init(SENSOR_GPIO_Port, &GPIO_InitStruct);

  /*Configure GPIO pins : VCP_USART2_TX_Pin VCP_USART2_RX_Pin */
  GPIO_InitStruct.Pin = VCP_USART2_TX_Pin|VCP_USART2_RX_Pin;
  GPIO_InitStruct.Mode = GPIO_MODE_AF_PP;
  GPIO_InitStruct.Pull = GPIO_NOPULL;
  GPIO_InitStruct.Speed = GPIO_SPEED_FREQ_LOW;
  GPIO_InitStruct.Alternate = GPIO_AF1_USART2;
  HAL_GPIO_Init(GPIOA, &GPIO_InitStruct);

  /*Configure GPIO pin : Led_Pin */
  GPIO_InitStruct.Pin = Led_Pin;
  GPIO_InitStruct.Mode = GPIO_MODE_OUTPUT_PP;
  GPIO_InitStruct.Pull = GPIO_NOPULL;
  GPIO_InitStruct.Speed = GPIO_SPEED_FREQ_VERY_HIGH;
  HAL_GPIO_Init(Led_GPIO_Port, &GPIO_InitStruct);

  /*Configure GPIO pins : BOMBA_Pin MOTOR_Pin SWING_Pin DRENO_Pin */
  GPIO_InitStruct.Pin = BOMBA_Pin|MOTOR_Pin|SWING_Pin|DRENO_Pin;
  GPIO_InitStruct.Mode = GPIO_MODE_OUTPUT_PP;
  GPIO_InitStruct.Pull = GPIO_PULLDOWN;
  GPIO_InitStruct.Speed = GPIO_SPEED_FREQ_LOW;
  HAL_GPIO_Init(GPIOB, &GPIO_InitStruct);

  /*Configure GPIO pin : RS485_EN_Pin */
  GPIO_InitStruct.Pin = RS485_EN_Pin;
  GPIO_InitStruct.Mode = GPIO_MODE_OUTPUT_PP;
  GPIO_InitStruct.Pull = GPIO_NOPULL;
  GPIO_InitStruct.Speed = GPIO_SPEED_FREQ_LOW;
  HAL_GPIO_Init(RS485_EN_GPIO_Port, &GPIO_InitStruct);

  /* EXTI interrupt init*/
  HAL_NVIC_SetPriority(EXTI4_15_IRQn, 0, 0);
  HAL_NVIC_EnableIRQ(EXTI4_15_IRQn);

}

/* USER CODE BEGIN 4 */
void HAL_TIM_PeriodElapsedCallback(TIM_HandleTypeDef *htim)
{
  if (htim->Instance == TIM3)
  {
    spwm();
  }
  else if (htim->Instance == TIM14)
  {
    peripherals_tick_1s();
  }
}

/*
 * Importante:
 * o tratamento de IDLE/DMA do USART1 deve permanecer no arquivo de interrupções
 * já existente do projeto (stm32c0xx_it.c), como estava no código de comunicação
 * que já funcionava. Este main.c assume que esse handler continua presente.
 */
/* USER CODE END 4 */

void Error_Handler(void)
{
  __disable_irq();
  while (1)
  {
  }
}
